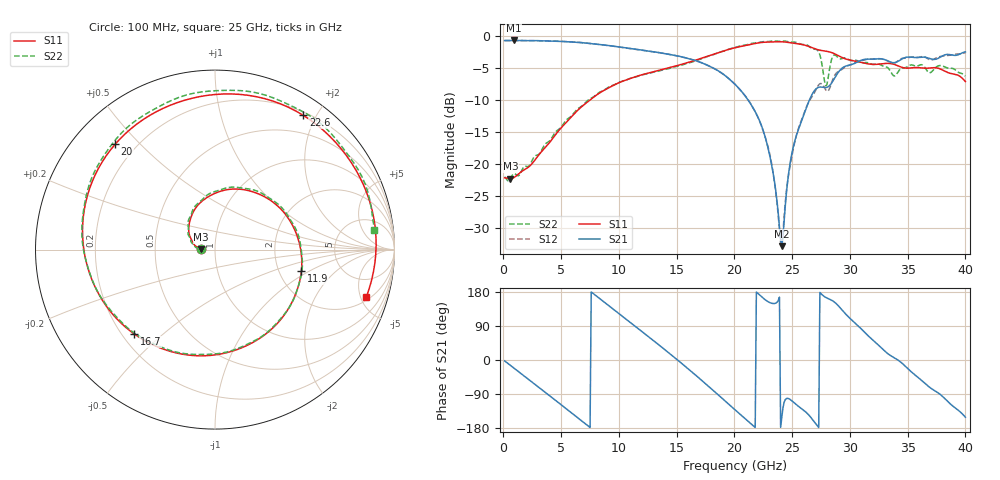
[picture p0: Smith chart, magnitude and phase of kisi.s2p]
! BV_vna_rf_hblb1_std_e35: /Attenuator Amp Switches/RF_HBLB_PORT1 via F.Cu→In2.Cu at (144.901, 131.654)
! stackup: VNA from the board file and its kisi.json
! ports: 1 in, 2 out
! kisi-fdtd, conformal, dfine 0.035 mm, 1529280 cells
# Hz S RI R 50
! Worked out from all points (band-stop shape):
!   400 points, 100 MHz to 40 GHz, reference 50 ohm
!   highest |S21| = -0.69 dB at 900 MHz (marker M1); lowest = -32.8 dB at 24.1 GHz (marker M2)
!   |S21| within 3 dB of the highest: start of sweep to 16.35 GHz; 34.41 GHz to end of sweep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
!   lowest |S11| = -22.3 dB at 600 MHz (marker M3), VSWR 1.17, Z = 42.8 + j0.217 ohm
!   |S11| at or under -10 dB: start of sweep to 7.482 GHz
!   |S22| runs from -22.6 to -0.8 dB; largest |S21 - S12| = 0.029
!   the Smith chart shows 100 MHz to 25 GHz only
!   S11 on the Smith chart (normalised r, x): 100 MHz: 0.86, +0.00; 11.9 GHz: 2.65, -0.85; 16.7 GHz: 0.25, -0.40; 20 GHz: 0.13, +0.42; 22.6 GHz: 0.24, +1.83; 25 GHz: 2.30, -5.57
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1e8  -0.0781 0.000804  0.9214 -0.0374  0.9218 -0.0373  -0.0797 0.00255
6e8  -0.077 0.00251  0.8961 -0.224  0.8957 -0.2256  -0.0767 -0.00262
9e8  -0.0784 0.00187  0.8619 -0.3333  0.86 -0.3328  -0.0842 0.0017
3.9e9  -0.1323 0.0568  -0.0309 -0.9152  -0.0311 -0.9154  -0.136 0.0613
6.8e9  -0.0673 0.2742  -0.8412 -0.2836  -0.841 -0.285  -0.0757 0.2744
9.7e9  0.3309 0.2586  -0.5279 0.6409  -0.5276 0.6407  0.3122 0.2813
1.19e10  0.4811 -0.1213  0.1722 0.7597  0.1719 0.7594  0.4871 -0.0852
1.34e10  0.3446 -0.414  0.5592 0.4914  0.5586 0.4913  0.3608 -0.3903
1.67e10  -0.4507 -0.4695  0.4805 -0.4236  0.4792 -0.4238  -0.4428 -0.4702
2e10  -0.5567 0.5866  -0.2726 -0.3249  -0.2741 -0.3248  -0.6151 0.5294
2.01e10  -0.5286 0.6173  -0.2817 -0.3056  -0.2834 -0.3048  -0.5943 0.5595
2.26e10  0.492 0.7479  -0.1605 0.0567  -0.1605 0.054  0.2876 0.8585
2.41e10  0.8858 0.1697  -0.0202 -0.0108  -0.0194 -0.0128  0.7746 0.4814
2.5e10  0.8425 -0.2659  -0.0392 -0.1181  -0.0366 -0.113  0.8885 0.1079
2.67e10  0.2344 -0.7776  -0.3137 -0.1489  -0.3032 -0.1396  0.5634 -0.568
2.79e10  -0.2922 -0.7045  -0.3831 0.1007  -0.3613 0.1202  0.1075 -0.3945
2.84e10  -0.4857 -0.5637  -0.3966 0.1599  -0.4062 0.1339  0.2523 -0.5999
2.97e10  -0.6585 -0.041  -0.2848 0.5112  -0.287 0.5045  -0.3153 -0.591
3.16e10  -0.2947 0.5296  0.2965 0.5901  0.2922 0.5933  -0.6096 -0.0982
3.34e10  0.3013 0.5323  0.6132 0.154  0.6135 0.1535  -0.4397 0.3302
3.66e10  0.4704 -0.3046  0.2939 -0.6141  0.2824 -0.6173  0.055 0.5467
4e10  -0.3238 -0.3007  -0.658 -0.3658  -0.6472 -0.3614  0.4555 0.1706
